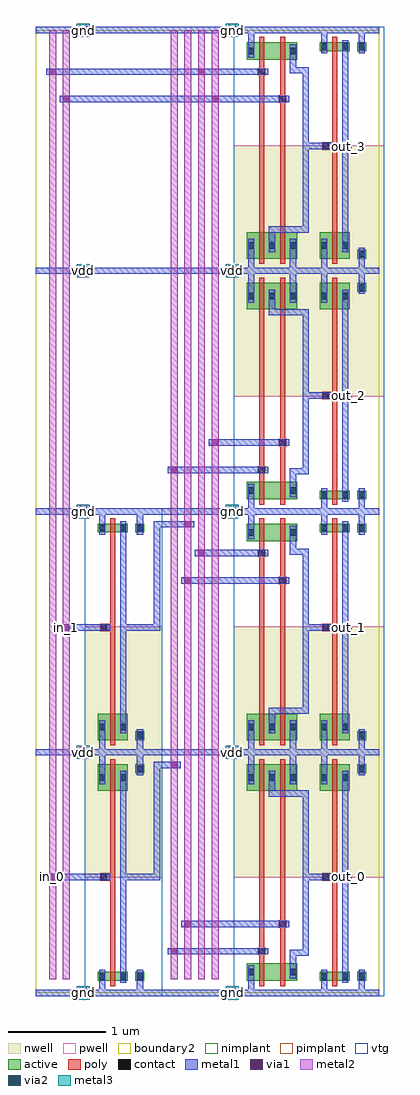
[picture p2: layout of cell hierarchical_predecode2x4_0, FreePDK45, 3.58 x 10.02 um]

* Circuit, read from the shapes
.subckt hierarchical_predecode2x4_0 gnd in_0 in_1 out_0 out_1 out_2 out_3 vdd
M1 pand2_2/A in_0 gnd gnd nfet w=0.09u l=0.05u
M2 pand2_2/B in_1 gnd gnd nfet w=0.09u l=0.05u
M3 pand2_2/pnand2_0_0/nmos_m1_w0_180_sm1_dactive_2/D pand2_2/A gnd gnd nfet w=0.18u l=0.05u
M4 pand2_3/pnand2_0_0/nmos_m1_w0_180_sm1_dactive_2/D in_0 gnd gnd nfet w=0.18u l=0.05u
M5 pand2_4/pnand2_0_0/nmos_m1_w0_180_sm1_dactive_2/D pand2_2/A gnd gnd nfet w=0.18u l=0.05u
M6 pand2_5/pnand2_0_0/nmos_m1_w0_180_sm1_dactive_2/D in_0 gnd gnd nfet w=0.18u l=0.05u
M7 pand2_2/pdriver_1/A pand2_2/B pand2_2/pnand2_0_0/nmos_m1_w0_180_sm1_dactive_2/D gnd nfet w=0.18u l=0.05u
M8 pand2_3/pdriver_1/A pand2_2/B pand2_3/pnand2_0_0/nmos_m1_w0_180_sm1_dactive_2/D gnd nfet w=0.18u l=0.05u
M9 pand2_4/pdriver_1/A in_1 pand2_4/pnand2_0_0/nmos_m1_w0_180_sm1_dactive_2/D gnd nfet w=0.18u l=0.05u
M10 pand2_5/pdriver_1/A in_1 pand2_5/pnand2_0_0/nmos_m1_w0_180_sm1_dactive_2/D gnd nfet w=0.18u l=0.05u
M11 out_0 pand2_2/pdriver_1/A gnd gnd nfet w=0.09u l=0.05u
M12 out_1 pand2_3/pdriver_1/A gnd gnd nfet w=0.09u l=0.05u
M13 out_2 pand2_4/pdriver_1/A gnd gnd nfet w=0.09u l=0.05u
M14 out_3 pand2_5/pdriver_1/A gnd gnd nfet w=0.09u l=0.05u
M15 pand2_2/A in_0 vdd vdd pfet w=0.27u l=0.05u
M16 pand2_2/B in_1 vdd vdd pfet w=0.27u l=0.05u
M17 pand2_2/pdriver_1/A pand2_2/A vdd vdd pfet w=0.27u l=0.05u
M18 pand2_3/pdriver_1/A in_0 vdd vdd pfet w=0.27u l=0.05u
M19 pand2_4/pdriver_1/A pand2_2/A vdd vdd pfet w=0.27u l=0.05u
M20 pand2_5/pdriver_1/A in_0 vdd vdd pfet w=0.27u l=0.05u
M21 vdd pand2_2/B pand2_2/pdriver_1/A vdd pfet w=0.27u l=0.05u
M22 vdd pand2_2/B pand2_3/pdriver_1/A vdd pfet w=0.27u l=0.05u
M23 vdd in_1 pand2_4/pdriver_1/A vdd pfet w=0.27u l=0.05u
M24 vdd in_1 pand2_5/pdriver_1/A vdd pfet w=0.27u l=0.05u
M25 out_0 pand2_2/pdriver_1/A vdd vdd pfet w=0.27u l=0.05u
M26 out_1 pand2_3/pdriver_1/A vdd vdd pfet w=0.27u l=0.05u
M27 out_2 pand2_4/pdriver_1/A vdd vdd pfet w=0.27u l=0.05u
M28 out_3 pand2_5/pdriver_1/A vdd vdd pfet w=0.27u l=0.05u
.ends

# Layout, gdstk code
import gdstk
lib = gdstk.Library(unit=1e-6, precision=5e-10)
def R(c, l, rs):  # rectangles x0, y0, x1, y1
    for r in rs: c.add(gdstk.rectangle(r[:2], r[2:], *l))
def A(c, l, x, y, w, h, nx, ny, dx, dy):  # array of equal rectangles
    R(c, l, [(x+i*dx, y+j*dy, x+i*dx+w, y+j*dy+h) for i in range(nx) for j in range(ny)])
active = (1, 0)
pwell = (2, 0)
nwell = (3, 0)
nimplant = (4, 0)
pimplant = (5, 0)
vtg = (6, 0)
poly = (9, 0)
contact = (10, 0)
metal1 = (11, 0)
via1 = (12, 0)
metal2 = (13, 0)
via2 = (14, 0)
metal3 = (15, 0)
boundary2 = (239, 0)

contact_11 = lib.new_cell('contact_11')
R(contact_11, active, [(0,0.0225,0.09,0.1125)])
R(contact_11, nwell, [(-0.055,-0.0325,0.145,0.1675)])
R(contact_11, pimplant, [(0,0.0225,0.09,0.1125)])
R(contact_11, contact, [(0.0125,0.035,0.0775,0.1)])
R(contact_11, metal1, [(0.0125,0,0.0775,0.135)])
R(contact_11, boundary2, [(-0.055,-0.0325,0.145,0.1675)])

pmos_m1_w0_270_sm1_dm1_d = lib.new_cell('pmos_m1_w0_270_sm1_dm1_da_p')
R(pmos_m1_w0_270_sm1_dm1_d, active, [(0,0,0.305,0.27)])
R(pmos_m1_w0_270_sm1_dm1_d, nwell, [(-0.08,-0.08,0.385,0.35)])
R(pmos_m1_w0_270_sm1_dm1_d, pimplant, [(0,0,0.305,0.27)])
R(pmos_m1_w0_270_sm1_dm1_d, vtg, [(-0.08,-0.08,0.385,0.35)])
R(pmos_m1_w0_270_sm1_dm1_d, poly, [(0.1275,-0.055,0.1775,0.325), (0.1275,-0.055,0.1775,0.325)])
R(pmos_m1_w0_270_sm1_dm1_d, metal1, [(0.0125,0.0675,0.0775,0.2025), (0.2275,0.0675,0.2925,0.2025)])
R(pmos_m1_w0_270_sm1_dm1_d, boundary2, [(-0.08,-0.08,0.385,0.35)])
pmos_m1_w0_270_sm1_dm1_d.add(gdstk.Reference(contact_11, (0,0.0675)))
pmos_m1_w0_270_sm1_dm1_d.add(gdstk.Reference(contact_11, (0.215,0.0675)))
pmos_m1_w0_270_sm1_dm1_d.add(gdstk.Label('G', (0.1525,0.135), layer=9, texttype=0))
pmos_m1_w0_270_sm1_dm1_d.add(gdstk.Label('S', (0.045,0.135), layer=11, texttype=0))
pmos_m1_w0_270_sm1_dm1_d.add(gdstk.Label('D', (0.26,0.135), layer=11, texttype=0))

contact_10 = lib.new_cell('contact_10')
R(contact_10, active, [(0,0.0225,0.09,0.1125)])
R(contact_10, pwell, [(-0.055,-0.0325,0.145,0.1675)])
R(contact_10, nimplant, [(0,0.0225,0.09,0.1125)])
R(contact_10, contact, [(0.0125,0.035,0.0775,0.1)])
R(contact_10, metal1, [(0.0125,0,0.0775,0.135)])
R(contact_10, boundary2, [(-0.055,-0.0325,0.145,0.1675)])

nmos_m1_w0_090_sm1_dm1_d = lib.new_cell('nmos_m1_w0_090_sm1_dm1_da_p')
R(nmos_m1_w0_090_sm1_dm1_d, active, [(0,0,0.305,0.09)])
R(nmos_m1_w0_090_sm1_dm1_d, pwell, [(-0.08,-0.08,0.385,0.17)])
R(nmos_m1_w0_090_sm1_dm1_d, nimplant, [(0,0,0.305,0.09)])
R(nmos_m1_w0_090_sm1_dm1_d, vtg, [(-0.08,-0.08,0.385,0.17)])
R(nmos_m1_w0_090_sm1_dm1_d, poly, [(0.1275,-0.055,0.1775,0.145), (0.1275,-0.055,0.1775,0.145)])
R(nmos_m1_w0_090_sm1_dm1_d, metal1, [(0.0125,-0.0225,0.0775,0.1125), (0.2275,-0.0225,0.2925,0.1125)])
R(nmos_m1_w0_090_sm1_dm1_d, boundary2, [(-0.08,-0.08,0.385,0.17)])
nmos_m1_w0_090_sm1_dm1_d.add(gdstk.Reference(contact_10, (0,-0.0225)))
nmos_m1_w0_090_sm1_dm1_d.add(gdstk.Reference(contact_10, (0.215,-0.0225)))
nmos_m1_w0_090_sm1_dm1_d.add(gdstk.Label('G', (0.1525,0.045), layer=9, texttype=0))
nmos_m1_w0_090_sm1_dm1_d.add(gdstk.Label('S', (0.045,0.045), layer=11, texttype=0))
nmos_m1_w0_090_sm1_dm1_d.add(gdstk.Label('D', (0.26,0.045), layer=11, texttype=0))

contact_12 = lib.new_cell('contact_12')
R(contact_12, active, [(0,0.0225,0.09,0.1125)])
R(contact_12, nwell, [(-0.055,-0.0325,0.145,0.1675)])
R(contact_12, nimplant, [(0,0.0225,0.09,0.1125)])
R(contact_12, contact, [(0.0125,0.035,0.0775,0.1)])
R(contact_12, metal1, [(0.0125,0,0.0775,0.135)])
R(contact_12, boundary2, [(-0.055,-0.0325,0.145,0.1675)])

contact_13 = lib.new_cell('contact_13')
R(contact_13, active, [(0,0.0225,0.09,0.1125)])
R(contact_13, pwell, [(-0.055,-0.0325,0.145,0.1675)])
R(contact_13, pimplant, [(0,0.0225,0.09,0.1125)])
R(contact_13, contact, [(0.0125,0.035,0.0775,0.1)])
R(contact_13, metal1, [(0.0125,0,0.0775,0.135)])
R(contact_13, boundary2, [(-0.055,-0.0325,0.145,0.1675)])

contact_14 = lib.new_cell('contact_14')
R(contact_14, poly, [(0.03,0,0.105,0.075)])
R(contact_14, contact, [(0.035,0.005,0.1,0.07)])
R(contact_14, metal1, [(0,0.005,0.135,0.07)])
R(contact_14, boundary2, [(0,0,0.135,0.075)])

pinv_2 = lib.new_cell('pinv_2')
R(pinv_2, pwell, [(-0.055,-0.0325,0.7425,1.185)])
R(pinv_2, nwell, [(-0.055,1.185,0.7425,2.505)])
R(pinv_2, vtg, [(-0.055,-0.0325,0.7425,1.185), (-0.055,1.185,0.7425,2.505)])
R(pinv_2, poly, [(0.2075,0.27,0.2575,2.02), (0.14,1.1525,0.2075,1.2275)])
R(pinv_2, metal1, [(0,-0.0325,0.6875,0.0325), (0.0925,-0.0325,0.1575,0.1025), (0.4775,0,0.5425,0.17), (0.3075,0.1025,0.3725,2.2775), (0.0725,1.1575,0.2075,1.2225), (0.34,1.1575,0.405,1.2225), (0.0925,2.1425,0.1575,2.5025), (0.4775,2.3,0.5425,2.47), (0,2.4375,0.6875,2.5025)])
R(pinv_2, boundary2, [(0,0,0.6875,2.47), (0,0,0.6875,2.47)])
pinv_2.add(gdstk.Reference(pmos_m1_w0_270_sm1_dm1_d, (0.08,2.075)))
pinv_2.add(gdstk.Reference(nmos_m1_w0_090_sm1_dm1_d, (0.08,0.125)))
pinv_2.add(gdstk.Reference(contact_12, (0.465,2.2325)))
pinv_2.add(gdstk.Reference(contact_13, (0.465,0.1025)))
pinv_2.add(gdstk.Reference(contact_14, (0.0725,1.1525)))
pinv_2.add(gdstk.Label('A', (0.14,1.19), layer=11, texttype=0))
pinv_2.add(gdstk.Label('Z', (0.3725,1.19), layer=11, texttype=0))
pinv_2.add(gdstk.Label('gnd', (0.344,0), layer=11, texttype=0))
pinv_2.add(gdstk.Label('vdd', (0.344,2.47), layer=11, texttype=0))

pmos_m1_w0_270_sm1_dm1 = lib.new_cell('pmos_m1_w0_270_sm1_dm1')
R(pmos_m1_w0_270_sm1_dm1, active, [(0,0,0.305,0.27)])
R(pmos_m1_w0_270_sm1_dm1, nwell, [(-0.08,-0.08,0.385,0.35)])
R(pmos_m1_w0_270_sm1_dm1, pimplant, [(0,0,0.305,0.27)])
R(pmos_m1_w0_270_sm1_dm1, vtg, [(-0.08,-0.08,0.385,0.35)])
R(pmos_m1_w0_270_sm1_dm1, poly, [(0.1275,-0.055,0.1775,0.325), (0.1275,-0.055,0.1775,0.325)])
R(pmos_m1_w0_270_sm1_dm1, metal1, [(0.0125,0.0675,0.0775,0.2025), (0.2275,0.0675,0.2925,0.2025)])
R(pmos_m1_w0_270_sm1_dm1, boundary2, [(-0.08,-0.08,0.385,0.35)])
pmos_m1_w0_270_sm1_dm1.add(gdstk.Reference(contact_11, (0,0.0675)))
pmos_m1_w0_270_sm1_dm1.add(gdstk.Reference(contact_11, (0.215,0.0675)))
pmos_m1_w0_270_sm1_dm1.add(gdstk.Label('G', (0.1525,0.135), layer=9, texttype=0))
pmos_m1_w0_270_sm1_dm1.add(gdstk.Label('S', (0.045,0.135), layer=11, texttype=0))
pmos_m1_w0_270_sm1_dm1.add(gdstk.Label('D', (0.26,0.135), layer=11, texttype=0))

nmos_m1_w0_180_sm1_dacti = lib.new_cell('nmos_m1_w0_180_sm1_dactive')
R(nmos_m1_w0_180_sm1_dacti, active, [(0,0,0.305,0.18), (0.215,0.045,0.305,0.135)])
R(nmos_m1_w0_180_sm1_dacti, pwell, [(-0.08,-0.08,0.385,0.26)])
R(nmos_m1_w0_180_sm1_dacti, nimplant, [(0,0,0.305,0.18)])
R(nmos_m1_w0_180_sm1_dacti, vtg, [(-0.08,-0.08,0.385,0.26)])
R(nmos_m1_w0_180_sm1_dacti, poly, [(0.1275,-0.055,0.1775,0.235), (0.1275,-0.055,0.1775,0.235)])
R(nmos_m1_w0_180_sm1_dacti, metal1, [(0.0125,0.0225,0.0775,0.1575)])
R(nmos_m1_w0_180_sm1_dacti, boundary2, [(-0.08,-0.08,0.385,0.26)])
nmos_m1_w0_180_sm1_dacti.add(gdstk.Reference(contact_10, (0,0.0225)))
nmos_m1_w0_180_sm1_dacti.add(gdstk.Label('G', (0.1525,0.09), layer=9, texttype=0))
nmos_m1_w0_180_sm1_dacti.add(gdstk.Label('S', (0.045,0.09), layer=11, texttype=0))
nmos_m1_w0_180_sm1_dacti.add(gdstk.Label('D', (0.26,0.09), layer=1, texttype=0))

nmos_m1_w0_180_sactive_d = lib.new_cell('nmos_m1_w0_180_sactive_dm1')
R(nmos_m1_w0_180_sactive_d, active, [(0,0,0.305,0.18), (0,0.045,0.09,0.135)])
R(nmos_m1_w0_180_sactive_d, pwell, [(-0.08,-0.08,0.385,0.26)])
R(nmos_m1_w0_180_sactive_d, nimplant, [(0,0,0.305,0.18)])
R(nmos_m1_w0_180_sactive_d, vtg, [(-0.08,-0.08,0.385,0.26)])
R(nmos_m1_w0_180_sactive_d, poly, [(0.1275,-0.055,0.1775,0.235), (0.1275,-0.055,0.1775,0.235)])
R(nmos_m1_w0_180_sactive_d, metal1, [(0.2275,0.0225,0.2925,0.1575)])
R(nmos_m1_w0_180_sactive_d, boundary2, [(-0.08,-0.08,0.385,0.26)])
nmos_m1_w0_180_sactive_d.add(gdstk.Reference(contact_10, (0.215,0.0225)))
nmos_m1_w0_180_sactive_d.add(gdstk.Label('G', (0.1525,0.09), layer=9, texttype=0))
nmos_m1_w0_180_sactive_d.add(gdstk.Label('S', (0.045,0.09), layer=1, texttype=0))
nmos_m1_w0_180_sactive_d.add(gdstk.Label('D', (0.26,0.09), layer=11, texttype=0))

pnand2_0 = lib.new_cell('pnand2_0')
R(pnand2_0, pwell, [(-0.055,-0.0325,0.805,1.185)])
R(pnand2_0, nwell, [(-0.055,1.185,0.805,2.505)])
R(pnand2_0, vtg, [(-0.055,-0.0325,0.805,1.185), (-0.055,1.185,0.805,2.505)])
R(pnand2_0, poly, [(0.2075,0.36,0.2575,2.02), (0.4225,0.36,0.4725,2.02), (0.2075,0.39,0.2325,0.465), (0.4225,0.67,0.4475,0.745)])
R(pnand2_0, metal1, [(0,-0.0325,0.75,0.0325), (0.0925,-0.0325,0.1575,0.1475), (0.5225,0.2825,0.5875,0.4125), (0.5225,0.38,0.5875,0.445), (0.555,0.38,0.685,0.445), (0.6525,0.38,0.7175,0.445), (0.165,0.395,0.3,0.46), (0.6525,0.4125,0.7175,2.045), (0.38,0.675,0.515,0.74), (0.3075,2.0125,0.3725,2.0775), (0.34,2.0125,0.685,2.0775), (0.6525,2.0125,0.7175,2.0775), (0.3075,2.045,0.3725,2.1425), (0.0925,2.1425,0.1575,2.5025), (0.5225,2.1425,0.5875,2.5025), (0,2.4375,0.75,2.5025)])
R(pnand2_0, boundary2, [(0,0,0.75,2.47), (0,0,0.75,2.47)])
pnand2_0.add(gdstk.Reference(pmos_m1_w0_270_sm1_dm1, (0.08,2.075)))
pnand2_0.add(gdstk.Reference(pmos_m1_w0_270_sm1_dm1, (0.295,2.075)))
pnand2_0.add(gdstk.Reference(nmos_m1_w0_180_sm1_dacti, (0.08,0.125)))
pnand2_0.add(gdstk.Reference(nmos_m1_w0_180_sactive_d, (0.295,0.125)))
pnand2_0.add(gdstk.Reference(contact_14, (0.165,0.39)))
pnand2_0.add(gdstk.Reference(contact_14, (0.38,0.67)))
pnand2_0.add(gdstk.Label('Z', (0.685,2.045), layer=11, texttype=0))
pnand2_0.add(gdstk.Label('gnd', (0.375,0), layer=11, texttype=0))
pnand2_0.add(gdstk.Label('vdd', (0.375,2.47), layer=11, texttype=0))
pnand2_0.add(gdstk.Label('A', (0.2325,0.4275), layer=11, texttype=0))
pnand2_0.add(gdstk.Label('B', (0.4475,0.7075), layer=11, texttype=0))

pinv_1 = lib.new_cell('pinv_1')
R(pinv_1, pwell, [(-0.055,-0.0325,0.7425,1.185)])
R(pinv_1, nwell, [(-0.055,1.185,0.7425,2.505)])
R(pinv_1, vtg, [(-0.055,-0.0325,0.7425,1.185), (-0.055,1.185,0.7425,2.505)])
R(pinv_1, poly, [(0.2075,0.27,0.2575,2.02), (0.14,1.1525,0.2075,1.2275)])
R(pinv_1, metal1, [(0,-0.0325,0.6875,0.0325), (0.0925,-0.0325,0.1575,0.1025), (0.4775,0,0.5425,0.17), (0.3075,0.1025,0.3725,2.2775), (0.0725,1.1575,0.2075,1.2225), (0.34,1.1575,0.405,1.2225), (0.0925,2.1425,0.1575,2.5025), (0.4775,2.3,0.5425,2.47), (0,2.4375,0.6875,2.5025)])
R(pinv_1, boundary2, [(0,0,0.6875,2.47), (0,0,0.6875,2.47)])
pinv_1.add(gdstk.Reference(pmos_m1_w0_270_sm1_dm1_d, (0.08,2.075)))
pinv_1.add(gdstk.Reference(nmos_m1_w0_090_sm1_dm1_d, (0.08,0.125)))
pinv_1.add(gdstk.Reference(contact_12, (0.465,2.2325)))
pinv_1.add(gdstk.Reference(contact_13, (0.465,0.1025)))
pinv_1.add(gdstk.Reference(contact_14, (0.0725,1.1525)))
pinv_1.add(gdstk.Label('A', (0.14,1.19), layer=11, texttype=0))
pinv_1.add(gdstk.Label('Z', (0.3725,1.19), layer=11, texttype=0))
pinv_1.add(gdstk.Label('gnd', (0.344,0), layer=11, texttype=0))
pinv_1.add(gdstk.Label('vdd', (0.344,2.47), layer=11, texttype=0))

pdriver = lib.new_cell('pdriver')
R(pdriver, pwell, [(-0.055,-0.0325,0.7425,1.185)])
R(pdriver, nwell, [(-0.055,1.185,0.7425,2.505)])
R(pdriver, vtg, [(-0.055,-0.0325,0.7425,1.185), (-0.055,1.185,0.7425,2.505)])
R(pdriver, metal1, [(0,-0.0325,0.6875,0.0325), (0.0725,1.1575,0.2075,1.2225), (0.34,1.1575,0.405,1.2225), (0,2.4375,0.6875,2.5025)])
R(pdriver, boundary2, [(0,0,0.6875,2.47), (0,0,0.6875,2.47)])
pdriver.add(gdstk.Reference(pinv_1, (0,0)))
pdriver.add(gdstk.Label('Z', (0.3725,1.19), layer=11, texttype=0))
pdriver.add(gdstk.Label('A', (0.14,1.19), layer=11, texttype=0))
pdriver.add(gdstk.Label('gnd', (0.344,0), layer=11, texttype=0))
pdriver.add(gdstk.Label('vdd', (0.344,2.47), layer=11, texttype=0))

pand2 = lib.new_cell('pand2')
R(pand2, metal1, [(0,-0.0325,1.4375,0.0325), (0.165,0.395,0.3,0.46), (0.38,0.675,0.515,0.74), (0.6525,1.1575,0.7175,1.2225), (0.685,1.1575,0.89,1.2225), (1.09,1.1575,1.155,1.2225), (0.6525,1.19,0.7175,2.045), (0,2.4375,1.4375,2.5025)])
R(pand2, boundary2, [(0,0,1.4375,2.47), (0,0,1.4375,2.47)])
pand2.add(gdstk.Reference(pnand2_0, (0,0)))
pand2.add(gdstk.Reference(pdriver, (0.75,0)))
pand2.add(gdstk.Label('Z', (1.1225,1.19), layer=11, texttype=0))
pand2.add(gdstk.Label('A', (0.2325,0.4275), layer=11, texttype=0))
pand2.add(gdstk.Label('B', (0.4475,0.7075), layer=11, texttype=0))
pand2.add(gdstk.Label('gnd', (0.719,0), layer=11, texttype=0))
pand2.add(gdstk.Label('vdd', (0.719,2.47), layer=11, texttype=0))

contact_15 = lib.new_cell('contact_15')
R(contact_15, metal1, [(0,0.035,0.135,0.1)])
R(contact_15, via1, [(0.035,0.035,0.1,0.1)])
R(contact_15, metal2, [(0.0325,0,0.1025,0.135)])
R(contact_15, boundary2, [(0,0,0.135,0.135)])

contact_17 = lib.new_cell('contact_17')
R(contact_17, metal1, [(0,0.035,0.135,0.1)])
R(contact_17, via1, [(0.035,0.035,0.1,0.1)])
R(contact_17, metal2, [(0.0325,0,0.1025,0.135)])
R(contact_17, boundary2, [(0,0,0.135,0.135)])

contact_6 = lib.new_cell('contact_6')
R(contact_6, metal2, [(0.0325,0,0.1025,0.135)])
R(contact_6, via2, [(0.035,0.035,0.1,0.1)])
R(contact_6, metal3, [(0,0.0325,0.135,0.1025)])
R(contact_6, boundary2, [(0,0,0.135,0.135)])

hierarchical_predecode2x = lib.new_cell('hierarchical_predecode2x4_0')
R(hierarchical_predecode2x, metal1, [(0,-0.0325,3.525,0.0325), (1.4225,0.395,2.32,0.46), (2.2875,0.395,2.3525,0.46), (1.5625,0.675,2.535,0.74), (2.5025,0.675,2.5675,0.74), (0.175,1.1575,0.7,1.2225), (0.6675,1.1575,0.7325,1.2225), (0.9325,1.1575,0.9975,1.2225), (0.965,1.1575,1.2475,1.2225), (1.215,1.1575,1.28,1.2225), (3.1775,1.1575,3.2425,1.2225), (1.215,1.19,1.28,2.34), (1.215,2.3075,1.28,2.3725), (1.2475,2.3075,1.4225,2.3725), (0,2.4375,3.525,2.5025), (0,2.4375,3.525,2.5025), (0.315,3.7175,0.7,3.7825), (0.6675,3.7175,0.7325,3.7825), (0.9325,3.7175,0.9975,3.7825), (0.965,3.7175,1.2475,3.7825), (1.215,3.7175,1.28,3.7825), (3.1775,3.7175,3.2425,3.7825), (1.215,3.75,1.28,4.81), (1.5625,4.2,2.535,4.265), (2.5025,4.2,2.5675,4.265), (1.7025,4.48,2.32,4.545), (2.2875,4.48,2.3525,4.545), (1.215,4.7775,1.28,4.8425), (1.2475,4.7775,1.5625,4.8425), (0,4.9075,3.525,4.9725), (0,4.9075,3.525,4.9725), (1.4225,5.335,2.32,5.4), (2.2875,5.335,2.3525,5.4), (1.8425,5.615,2.535,5.68), (2.5025,5.615,2.5675,5.68), (3.1775,6.0975,3.2425,6.1625), (0,7.3775,3.525,7.4425), (0,7.3775,3.525,7.4425), (3.1775,8.6575,3.2425,8.7225), (0.315,9.14,1.8425,9.205), (1.8425,9.14,2.535,9.205), (2.5025,9.14,2.5675,9.205), (0.175,9.42,1.7025,9.485), (1.7025,9.42,2.32,9.485), (2.2875,9.42,2.3525,9.485), (0,9.8475,3.525,9.9125)])
A(hierarchical_predecode2x, metal2, 1.3875, 0.14, 0.07, 9.74, 4, 1, 0.14, 0)
R(hierarchical_predecode2x, metal2, [(0.14,0.14,0.21,9.88), (0.28,0.14,0.35,9.88), (0.14,1.1225,0.21,1.2575), (0.28,3.6825,0.35,3.8175)])
A(hierarchical_predecode2x, metal3, 0.4225, 2.4025, 0.135, 0.135, 1, 3, 0, 2.47)
A(hierarchical_predecode2x, metal3, 1.95, 2.4025, 0.135, 0.135, 1, 3, 0, 2.47)
R(hierarchical_predecode2x, metal3, [(0.4225,-0.0675,0.5575,0.0675), (1.95,-0.0675,2.085,0.0675), (0.4225,2.4025,0.5575,2.5375), (1.95,2.4025,2.085,2.5375), (0.4225,7.3425,0.5575,7.4775), (1.95,7.3425,2.085,7.4775), (0.4225,9.8125,0.5575,9.9475), (1.95,9.8125,2.085,9.9475)])
R(hierarchical_predecode2x, boundary2, [(0,0,3.525,9.88)])
hierarchical_predecode2x.add(gdstk.Reference(pinv_2, (0.56,0)))
hierarchical_predecode2x.add(gdstk.Reference(pinv_2, (0.56,4.94), x_reflection=True))
hierarchical_predecode2x.add(gdstk.Reference(pand2, (2.0875,0)))
hierarchical_predecode2x.add(gdstk.Reference(pand2, (2.0875,4.94), x_reflection=True))
hierarchical_predecode2x.add(gdstk.Reference(pand2, (2.0875,4.94)))
hierarchical_predecode2x.add(gdstk.Reference(pand2, (2.0875,9.88), x_reflection=True))
hierarchical_predecode2x.add(gdstk.Reference(contact_15, (0.1075,1.1225)))
hierarchical_predecode2x.add(gdstk.Reference(contact_15, (0.2475,3.6825)))
hierarchical_predecode2x.add(gdstk.Reference(contact_15, (1.355,0.36)))
hierarchical_predecode2x.add(gdstk.Reference(contact_15, (1.495,0.64)))
hierarchical_predecode2x.add(gdstk.Reference(contact_15, (1.635,4.445)))
hierarchical_predecode2x.add(gdstk.Reference(contact_15, (1.495,4.165)))
hierarchical_predecode2x.add(gdstk.Reference(contact_15, (1.355,5.3)))
hierarchical_predecode2x.add(gdstk.Reference(contact_15, (1.775,5.58)))
hierarchical_predecode2x.add(gdstk.Reference(contact_15, (1.635,9.385)))
hierarchical_predecode2x.add(gdstk.Reference(contact_15, (1.775,9.105)))
hierarchical_predecode2x.add(gdstk.Reference(contact_15, (1.355,2.2725)))
hierarchical_predecode2x.add(gdstk.Reference(contact_15, (1.495,4.7425)))
hierarchical_predecode2x.add(gdstk.Reference(contact_17, (0.1075,9.385)))
hierarchical_predecode2x.add(gdstk.Reference(contact_17, (1.635,9.385)))
hierarchical_predecode2x.add(gdstk.Reference(contact_17, (0.2475,9.105)))
hierarchical_predecode2x.add(gdstk.Reference(contact_17, (1.775,9.105)))
hierarchical_predecode2x.add(gdstk.Reference(contact_17, (0.4225,2.4025)))
hierarchical_predecode2x.add(gdstk.Reference(contact_6, (0.4225,2.4025)))
hierarchical_predecode2x.add(gdstk.Reference(contact_17, (1.95,2.4025)))
hierarchical_predecode2x.add(gdstk.Reference(contact_6, (1.95,2.4025)))
hierarchical_predecode2x.add(gdstk.Reference(contact_17, (0.4225,-0.0675)))
hierarchical_predecode2x.add(gdstk.Reference(contact_6, (0.4225,-0.0675)))
hierarchical_predecode2x.add(gdstk.Reference(contact_17, (1.95,-0.0675)))
hierarchical_predecode2x.add(gdstk.Reference(contact_6, (1.95,-0.0675)))
hierarchical_predecode2x.add(gdstk.Reference(contact_17, (0.4225,2.4025)))
hierarchical_predecode2x.add(gdstk.Reference(contact_6, (0.4225,2.4025)))
hierarchical_predecode2x.add(gdstk.Reference(contact_17, (1.95,2.4025)))
hierarchical_predecode2x.add(gdstk.Reference(contact_6, (1.95,2.4025)))
hierarchical_predecode2x.add(gdstk.Reference(contact_17, (0.4225,4.8725)))
hierarchical_predecode2x.add(gdstk.Reference(contact_6, (0.4225,4.8725)))
hierarchical_predecode2x.add(gdstk.Reference(contact_17, (1.95,4.8725)))
hierarchical_predecode2x.add(gdstk.Reference(contact_6, (1.95,4.8725)))
hierarchical_predecode2x.add(gdstk.Reference(contact_17, (0.4225,7.3425)))
hierarchical_predecode2x.add(gdstk.Reference(contact_6, (0.4225,7.3425)))
hierarchical_predecode2x.add(gdstk.Reference(contact_17, (1.95,7.3425)))
hierarchical_predecode2x.add(gdstk.Reference(contact_6, (1.95,7.3425)))
hierarchical_predecode2x.add(gdstk.Reference(contact_17, (0.4225,4.8725)))
hierarchical_predecode2x.add(gdstk.Reference(contact_6, (0.4225,4.8725)))
hierarchical_predecode2x.add(gdstk.Reference(contact_17, (1.95,4.8725)))
hierarchical_predecode2x.add(gdstk.Reference(contact_6, (1.95,4.8725)))
hierarchical_predecode2x.add(gdstk.Reference(contact_17, (0.4225,7.3425)))
hierarchical_predecode2x.add(gdstk.Reference(contact_6, (0.4225,7.3425)))
hierarchical_predecode2x.add(gdstk.Reference(contact_17, (1.95,7.3425)))
hierarchical_predecode2x.add(gdstk.Reference(contact_6, (1.95,7.3425)))
hierarchical_predecode2x.add(gdstk.Reference(contact_17, (0.4225,9.8125)))
hierarchical_predecode2x.add(gdstk.Reference(contact_6, (0.4225,9.8125)))
hierarchical_predecode2x.add(gdstk.Reference(contact_17, (1.95,9.8125)))
hierarchical_predecode2x.add(gdstk.Reference(contact_6, (1.95,9.8125)))
hierarchical_predecode2x.add(gdstk.Label('in_0', (0.175,1.19), layer=13, texttype=0))
hierarchical_predecode2x.add(gdstk.Label('in_1', (0.315,3.75), layer=13, texttype=0))
hierarchical_predecode2x.add(gdstk.Label('out_0', (3.21,1.19), layer=11, texttype=0))
hierarchical_predecode2x.add(gdstk.Label('out_1', (3.21,3.75), layer=11, texttype=0))
hierarchical_predecode2x.add(gdstk.Label('out_2', (3.21,6.13), layer=11, texttype=0))
hierarchical_predecode2x.add(gdstk.Label('out_3', (3.21,8.69), layer=11, texttype=0))
hierarchical_predecode2x.add(gdstk.Label('vdd', (0.49,2.47), layer=15, texttype=0))
hierarchical_predecode2x.add(gdstk.Label('vdd', (0.49,2.47), layer=15, texttype=0))
hierarchical_predecode2x.add(gdstk.Label('vdd', (2.0175,2.47), layer=15, texttype=0))
hierarchical_predecode2x.add(gdstk.Label('vdd', (0.49,7.41), layer=15, texttype=0))
hierarchical_predecode2x.add(gdstk.Label('vdd', (2.0175,2.47), layer=15, texttype=0))
hierarchical_predecode2x.add(gdstk.Label('vdd', (0.49,7.41), layer=15, texttype=0))
hierarchical_predecode2x.add(gdstk.Label('vdd', (2.0175,7.41), layer=15, texttype=0))
hierarchical_predecode2x.add(gdstk.Label('vdd', (2.0175,7.41), layer=15, texttype=0))
hierarchical_predecode2x.add(gdstk.Label('gnd', (2.0175,9.88), layer=15, texttype=0))
hierarchical_predecode2x.add(gdstk.Label('gnd', (0.49,9.88), layer=15, texttype=0))
hierarchical_predecode2x.add(gdstk.Label('gnd', (2.0175,0), layer=15, texttype=0))
hierarchical_predecode2x.add(gdstk.Label('gnd', (0.49,0), layer=15, texttype=0))
hierarchical_predecode2x.add(gdstk.Label('gnd', (2.0175,4.94), layer=15, texttype=0))
hierarchical_predecode2x.add(gdstk.Label('gnd', (0.49,4.94), layer=15, texttype=0))

lib.write_gds('hierarchical_predecode2x4_0.gds')
